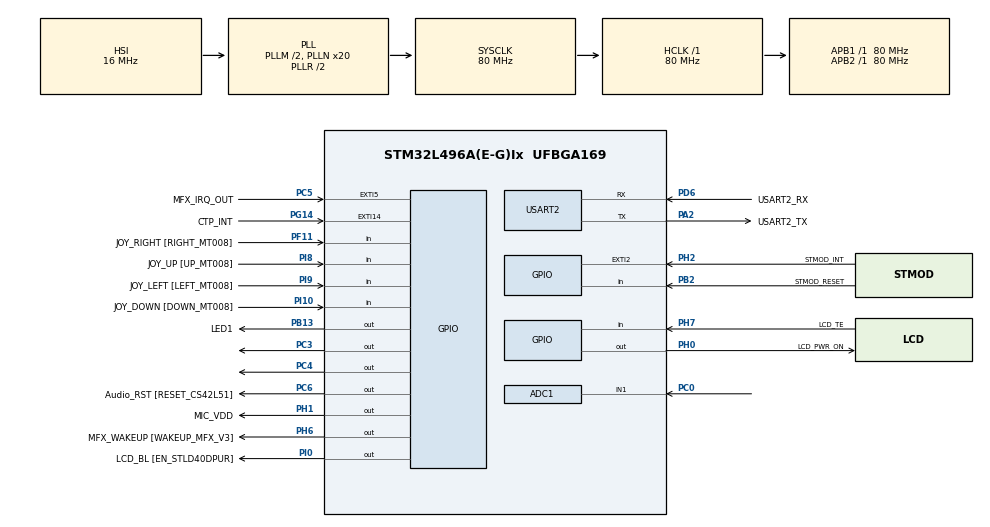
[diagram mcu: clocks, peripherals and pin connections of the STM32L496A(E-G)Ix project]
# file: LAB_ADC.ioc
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ADC1.Channel-1\#ChannelRegularConversion=ADC_CHANNEL_1
ADC1.NbrOfConversionFlag=1
ADC1.OffsetNumber-1\#ChannelRegularConversion=ADC_OFFSET_NONE
ADC1.Rank-1\#ChannelRegularConversion=1
ADC1.SamplingTime-1\#ChannelRegularConversion=ADC_SAMPLETIME_12CYCLES_5
ADC1.master=1
Mcu.Family=STM32L4
Mcu.Name=STM32L496A(E-G)Ix
Mcu.Package=UFBGA169
NVIC.ADC1_2_IRQn=true\:0\:0\:false\:false\:true\:true\:true
NVIC.PriorityGroup=NVIC_PRIORITYGROUP_4
NVIC.TIM3_IRQn=true\:1\:0\:true\:false\:true\:true\:true
NVIC.USART2_IRQn=true\:0\:0\:false\:false\:true\:true\:true
PA0.GPIO_Label=STMOD_PWM
PA0.Signal=SYS_WKUP1
PA1.GPIO_Label=ARD_A4
PA1.Signal=ADCx_IN6
PA10.GPIO_Label=USB_OTGFS_ID
PA10.Signal=USB_OTG_FS_ID
PA11.GPIO_Label=USB_OTGFS_DM
PA11.Signal=USB_OTG_FS_DM
PA12.GPIO_Label=USB_OTGFS_DP
PA12.Signal=USB_OTG_FS_DP
PA13\ (JTMS/SWDIO).GPIO_Label=SWDIO
PA13\ (JTMS/SWDIO).Mode=Serial_Wire
PA13\ (JTMS/SWDIO).Signal=SYS_JTMS-SWDIO
PA14\ (JTCK/SWCLK).GPIO_Label=SWCLK
PA14\ (JTCK/SWCLK).Mode=Serial_Wire
PA14\ (JTCK/SWCLK).Signal=SYS_JTCK-SWCLK
PA15\ (JTDI).GPIO_Label=ARD_D10
PA15\ (JTDI).Signal=SPI1_NSS
PA2.GPIO_Label=USART2_TX
PA2.Mode=Asynchronous
PA2.Signal=USART2_TX
PA3.GPIO_Label=QSPI_CLK [MX25R6435FM2IL0_SCLK]
PA3.Signal=QUADSPI_CLK
PA5.GPIO_Label=ARD_D13
PA5.Signal=SPI1_SCK
PA6.GPIO_Label=QSPI_BK1_IO3 [MX25R6435FM2IL0_SIO3]
PA6.Signal=QUADSPI_BK1_IO3
PA7.GPIO_Label=QSPI_BK1_IO2 [MX25R6435FM2IL0_SIO2]
PA7.Signal=QUADSPI_BK1_IO2
PA8.GPIO_Label=DCMI_CLK
PA8.Signal=LPTIM2_OUT
PA9.GPIO_Label=USB_OTGFS_VBUS
PA9.Signal=USB_OTG_FS_VBUS
PB0.GPIO_Label=QSPI_BK1_IO1 [MX25R6435FM2IL0_SIO1]
PB0.Signal=QUADSPI_BK1_IO1
PB1.GPIO_Label=QSPI_BK1_IO0 [MX25R6435FM2IL0_SIO0]
PB1.Signal=QUADSPI_BK1_IO0
PB10.GPIO_Label=SAI1_CKA [SLCK_CS42L51]
PB10.Signal=SAI1_SCK_A
PB11.GPIO_Label=QSPI_BK1_NCS [MX25R6435FM2IL0_CS]
PB11.Signal=QUADSPI_BK1_NCS
PB12.GPIO_Label=DFDATIN1
PB12.Signal=S_DATAIN1DFSDM1
PB13.GPIO_Label=LED1
PB13.GPIO_ModeDefaultOutputPP=GPIO_MODE_OUTPUT_OD
PB13.GPIO_PuPd=GPIO_NOPULL
PB13.Signal=GPIO_Output
PB14.GPIO_Label=I2C2_SDA [CS42L51_SDA]
PB14.Signal=I2C2_SDA
PB15.GPIO_Label=SPI2_MOSI
PB15.Signal=SPI2_MOSI
PB2.GPIO_Label=STMOD_RESET
PB2.Signal=GPIO_Input
PB3\ (JTDO/TRACESWO).GPIO_Label=SWO
PB3\ (JTDO/TRACESWO).Signal=SYS_JTDO-SWO
PB4\ (NJTRST).GPIO_Label=ARD_D12
PB4\ (NJTRST).Signal=SPI1_MISO
PB5.GPIO_Label=ARD_D11
PB5.Signal=SPI1_MOSI
PB6.GPIO_Label=USART1_TX
PB6.Signal=USART1_TX
PB7.GPIO_Label=I2C1_SDA
PB7.Signal=I2C1_SDA
PB8.GPIO_Label=I2C1_SCL
PB8.Signal=I2C1_SCL
PB9.GPIO_Label=ARD_D5
PB9.Signal=S_TIM4_CH4
PC0.GPIO_Mode=GPIO_MODE_ANALOG
PC0.GPIO_PuPd=GPIO_NOPULL
PC0.Signal=SharedAnalog_PC0
PC10.GPIO_Label=uSD_D2
PC10.Signal=SDMMC1_D2
PC11.GPIO_Label=uSD_D3
PC11.Signal=SDMMC1_D3
PC12.GPIO_Label=uSD_CLK
PC12.Signal=SDMMC1_CK
PC13.GPIO_Label=JOY_SEL [Selection_MT008]
PC13.Signal=SYS_WKUP2
PC14-OSC32_IN\ (PC14).Mode=LSE-External-Oscillator
PC14-OSC32_IN\ (PC14).Signal=RCC_OSC32_IN
PC15-OSC32_OUT\ (PC15).Mode=LSE-External-Oscillator
PC15-OSC32_OUT\ (PC15).Signal=RCC_OSC32_OUT
PC2.GPIO_Label=DF_CKOUT
PC2.Signal=S_CKOUTDFSDM1
PC3.GPIO_PuPd=GPIO_PULLDOWN
PC3.GPIO_Speed=GPIO_SPEED_FREQ_VERY_HIGH
PC3.PinState=GPIO_PIN_RESET
PC3.Signal=GPIO_Output
PC4.GPIO_PuPd=GPIO_NOPULL
PC4.PinState=GPIO_PIN_SET
PC4.Signal=GPIO_Output
PC5.GPIO_Label=MFX_IRQ_OUT
PC5.Signal=GPXTI5
PC6.GPIO_Label=Audio_RST [RESET_CS42L51]
PC6.Signal=GPIO_Output
PC7.GPIO_Label=DATIN3 [DOUT_MP34DT01TR]
PC7.Signal=S_DATAIN3DFSDM1
PC8.GPIO_Label=uSD_D0
PC8.Signal=SDMMC1_D0
PC9.GPIO_Label=uSD_D1
PC9.Signal=SDMMC1_D1
PD0.GPIO_Label=D2 [D2_ IS66WV51216EBLL]
PD0.Signal=FMC_D2_DA2
PD1.GPIO_Label=D3 [D3_IS66WV51216EBLL]
PD1.Signal=FMC_D3_DA3
PD10.GPIO_Label=D15 [D15_IS66WV51216EBLL]
PD10.Signal=FMC_D15_DA15
PD11.GPIO_Label=PSRAM_A16 [A16_IS66WV51216EBLL]
PD11.Signal=FMC_A16_CLE
PD12.GPIO_Label=PSRAM_A17 [A17_IS66WV51216EBLL]
PD12.Signal=FMC_A17_ALE
PD13.GPIO_Label=PSRAM_A18_LCD_RS [A18_IS66WV51216EBLL]
PD13.Signal=FMC_A18
PD14.GPIO_Label=D0 [D0_IS66WV51216EBLL]
PD14.Signal=FMC_D0_DA0
PD15.GPIO_Label=D1 [D1_IS66WV51216EBLL]
PD15.Signal=FMC_D1_DA1
PD2.GPIO_Label=uSD_CMD
PD2.Signal=SDMMC1_CMD
PD4.GPIO_Label=OE [OE_IS66WV51216EBLL]
PD4.Signal=FMC_NOE
PD5.GPIO_Label=WE [WE_IS66WV51216EBLL]
PD5.Signal=FMC_NWE
PD6.GPIO_Label=USART2_RX
PD6.Mode=Asynchronous
PD6.Signal=USART2_RX
PD7.GPIO_Label=LCD_NE
PD7.Signal=FMC_NE1
PD8.GPIO_Label=D13 [D13_IS66WV51216EBLL]
PD8.Signal=FMC_D13_DA13
PD9.GPIO_Label=D14 [D14_IS66WV51216EBLL]
PD9.Signal=FMC_D14_DA14
PE0.GPIO_Label=PSRAM_NBL0 [LB_IS66WV51216EBLL]
PE0.Signal=FMC_NBL0
PE1.GPIO_Label=PSRAM_NBL1 [UB_IS66WV51216EBLL]
PE1.Signal=FMC_NBL1
PE10.GPIO_Label=D7 [D7_IS66WV51216EBLL]
PE10.Signal=FMC_D7_DA7
PE11.GPIO_Label=D8  [D8_IS66WV51216EBLL]
PE11.Signal=FMC_D8_DA8
PE12.GPIO_Label=D9 [D9_IS66WV51216EBLL]
PE12.Signal=FMC_D9_DA9
PE13.GPIO_Label=D10 [D10_IS66WV51216EBLL]
PE13.Signal=FMC_D10_DA10
PE14.GPIO_Label=D11 [D11_IS66WV51216EBLL]
PE14.Signal=FMC_D11_DA11
PE15.GPIO_Label=D12 [D12_IS66WV51216EBLL]
PE15.Signal=FMC_D12_DA12
PE2.GPIO_Label=SAI1_MCKA [MCLK_CS42L51]
PE2.Signal=SAI1_MCLK_A
PE3.GPIO_Label=SAI1_SDB [SDOUT_CS42L51]
PE3.Signal=SAI1_SD_B
PE4.GPIO_Label=SAI1_FSA [LRCK_CS42L51]]
PE4.Signal=SAI1_FS_A
PE5.GPIO_Label=DCMI_D6
PE5.Signal=DCMI_D6
PE6.GPIO_Label=SAI1_SDA [SDIN_CS42L51]
PE6.Signal=SAI1_SD_A
PE7.GPIO_Label=D4 [D4_IS66WV51216EBLL]
PE7.Signal=FMC_D4_DA4
PE8.GPIO_Label=D5 [D5_IS66WV51216EBLL]
PE8.Signal=FMC_D5_DA5
PE9.GPIO_Label=D6 [D6_IS66WV51216EBLL]
PE9.Signal=FMC_D6_DA6
PF0.GPIO_Label=PSRAM_A0 [A0_IS66WV51216EBLL]
PF0.Signal=FMC_A0
PF1.GPIO_Label=PSRAM_A1 [A1_IS66WV51216EBLL]
PF1.Signal=FMC_A1
PF10.GPIO_Label=ARD_A3
PF10.Signal=ADC3_IN13
PF11.GPIO_Label=JOY_RIGHT [RIGHT_MT008]
PF11.GPIO_PuPd=GPIO_PULLDOWN
PF11.Signal=GPIO_Input
PF12.GPIO_Label=PSRAM_A6 [A6_IS66WV51216EBLL]
PF12.Signal=FMC_A6
PF13.GPIO_Label=PSRAM_A7 [A7_IS66WV51216EBLL]
PF13.Signal=FMC_A7
PF14.GPIO_Label=PSRAM_A8 [A8_IS66WV51216EBLL]
PF14.Signal=FMC_A8
PF15.GPIO_Label=PSRAM_A9 [A9_IS66WV51216EBLL]
PF15.Signal=FMC_A9
PF2.GPIO_Label=PSRAM_A2 [A2_IS66WV51216EBLL]
PF2.Signal=FMC_A2
PF3.GPIO_Label=PSRAM_A3 [A3_IS66WV51216EBLL]
PF3.Signal=FMC_A3
PF4.GPIO_Label=PSRAM_A4 [A4_IS66WV51216EBLL]
PF4.Signal=FMC_A4
PF5.GPIO_Label=PSRAM_A5 [A5_IS66WV51216EBLL]
PF5.Signal=FMC_A5
PG0.GPIO_Label=PSRAM_A10 [A10_IS66WV51216EBLL]
PG0.Signal=FMC_A10
PG1.GPIO_Label=PSRAM_A11 [A11_IS66WV51216EBLL]
PG1.Signal=FMC_A11
PG10.GPIO_Label=UART1_RX [STMOD+_UART]
PG10.Signal=USART1_RX
PG11.GPIO_Label=UART1_CTS [STMOD+_UART]
PG11.Signal=USART1_CTS
PG12.GPIO_Label=UART1_RTS [STMOD+_UART]
PG12.Signal=USART1_RTS
PG14.GPIO_Label=CTP_INT
PG14.Signal=GPXTI14
PG2.GPIO_Label=PSRAM_A12 [A12_IS66WV51216EBLL]
PG2.Signal=FMC_A12
PG3.GPIO_Label=PSRAM_A13 [A13_IS66WV51216EBLL]
PG3.Signal=FMC_A13
PG4.GPIO_Label=PSRAM_A14 [A14_IS66WV51216EBLL]
PG4.Signal=FMC_A14
PG5.GPIO_Label=PSRAM_A15 [A15_IS66WV51216EBLL]
PG5.Signal=FMC_A15
PG7.GPIO_Label=ARD_D1
PG7.Signal=LPUART1_TX
PG8.GPIO_Label=ARD_D0
PG8.Signal=LPUART1_RX
PG9.GPIO_Label=PSRAM_NE [CS1_IS66WV51216EBLL]
PG9.Signal=FMC_NE2
PH0-OSC_IN\ (PH0).GPIO_Label=LCD_PWR_ON
PH0-OSC_IN\ (PH0).Signal=GPIO_Output
PH1-OSC_OUT\ (PH1).GPIO_Label=MIC_VDD
PH1-OSC_OUT\ (PH1).Signal=GPIO_Output
PH10.GPIO_Label=DCMI_D1
PH10.Signal=DCMI_D1
PH11.GPIO_Label=DCMI_D2
PH11.Signal=DCMI_D2
PH12.GPIO_Label=DCMI_D3
PH12.Signal=DCMI_D3
PH13.GPIO_Label=ARD_D9
PH13.Signal=TIM8_CH1N
PH14.GPIO_Label=DCMI_D4
PH14.Signal=DCMI_D4
PH15.GPIO_Label=ARD_D3
PH15.Signal=TIM8_CH3N
PH2.GPIO_Label=STMOD_INT
PH2.Signal=GPXTI2
PH4.GPIO_Label=I2C2_SCL [SCL_CS42L51]
PH4.Signal=I2C2_SCL
PH5.GPIO_Label=DCMI_PIXCK
PH5.Signal=DCMI_PIXCLK
PH6.GPIO_Label=MFX_WAKEUP [WAKEUP_MFX_V3]
PH6.Signal=GPIO_Output
PH7.GPIO_Label=LCD_TE
PH7.Signal=GPIO_Input
PH8.GPIO_Label=DCMI_HSYNC
PH8.Signal=DCMI_HSYNC
PH9.GPIO_Label=DCMI_D0
PH9.Signal=DCMI_D0
PI0.GPIO_Label=LCD_BL [EN_STLD40DPUR]
PI0.Signal=GPIO_Output
PI1.GPIO_Label=SPI2_CLK [STMOD+_SPI]
PI1.Signal=SPI2_SCK
PI10.GPIO_Label=JOY_DOWN [DOWN_MT008]
PI10.GPIO_PuPd=GPIO_PULLDOWN
PI10.Signal=GPIO_Input
PI2.GPIO_Label=SPI2_MISO [STMOD+_SPI]
PI2.Signal=SPI2_MISO
PI4.GPIO_Label=DCMI_D5
PI4.Signal=DCMI_D5
PI5.GPIO_Label=DCMI_VSYNC
PI5.Signal=DCMI_VSYNC
PI6.GPIO_Label=ARD_D6
PI6.Signal=S_TIM8_CH2
PI7.GPIO_Label=DCMI_D7
PI7.Signal=DCMI_D7
PI8.GPIO_Label=JOY_UP [UP_MT008]
PI8.GPIO_PuPd=GPIO_PULLDOWN
PI8.Signal=GPIO_Input
PI9.GPIO_Label=JOY_LEFT [LEFT_MT008]
PI9.GPIO_PuPd=GPIO_PULLDOWN
PI9.Signal=GPIO_Input
ProjectManager.HeapSize=0x2000
ProjectManager.StackSize=0x2000
ProjectManager.TargetToolchain=STM32CubeIDE
RCC.ADCFreq_Value=32000000
RCC.AHBFreq_Value=80000000
RCC.APB1Freq_Value=80000000
RCC.APB1TimFreq_Value=80000000
RCC.APB2Freq_Value=80000000
RCC.APB2TimFreq_Value=80000000
RCC.CortexFreq_Value=80000000
RCC.HCLKFreq_Value=80000000
RCC.HSE_VALUE=8000000
RCC.HSI48_VALUE=48000000
RCC.HSI_VALUE=16000000
RCC.MSI_VALUE=4000000
RCC.PLLM=2
RCC.PLLN=20
RCC.PLLSourceVirtual=RCC_PLLSOURCE_HSI
RCC.SYSCLKFreq_VALUE=80000000
RCC.SYSCLKSource=RCC_SYSCLKSOURCE_PLLCLK
RCC.USART2CLockSelection=RCC_USART2CLKSOURCE_SYSCLK
RCC.USBFreq_Value=32000000
RCC.VCOOutputFreq_Value=160000000
SH.ADCx_IN6.0=ADC2_IN6
SH.FMC_A0.0=FMC_A0
SH.FMC_A1.0=FMC_A1
SH.FMC_A10.0=FMC_A10
SH.FMC_A11.0=FMC_A11
SH.FMC_A12.0=FMC_A12
SH.FMC_A13.0=FMC_A13
SH.FMC_A14.0=FMC_A14
SH.FMC_A15.0=FMC_A15
SH.FMC_A16_CLE.0=FMC_A16
SH.FMC_A17_ALE.0=FMC_A17
SH.FMC_A18.0=FMC_A18
SH.FMC_A2.0=FMC_A2
SH.FMC_A3.0=FMC_A3
SH.FMC_A4.0=FMC_A4
SH.FMC_A5.0=FMC_A5
SH.FMC_A6.0=FMC_A6
SH.FMC_A7.0=FMC_A7
SH.FMC_A8.0=FMC_A8
SH.FMC_A9.0=FMC_A9
SH.FMC_D0_DA0.0=FMC_D0
SH.FMC_D10_DA10.0=FMC_D10
SH.FMC_D11_DA11.0=FMC_D11
SH.FMC_D12_DA12.0=FMC_D12
SH.FMC_D13_DA13.0=FMC_D13
SH.FMC_D14_DA14.0=FMC_D14
SH.FMC_D15_DA15.0=FMC_D15
SH.FMC_D1_DA1.0=FMC_D1
SH.FMC_D2_DA2.0=FMC_D2
SH.FMC_D3_DA3.0=FMC_D3
SH.FMC_D4_DA4.0=FMC_D4
SH.FMC_D5_DA5.0=FMC_D5
SH.FMC_D6_DA6.0=FMC_D6
SH.FMC_D7_DA7.0=FMC_D7
SH.FMC_D8_DA8.0=FMC_D8
SH.FMC_D9_DA9.0=FMC_D9
SH.FMC_NBL0.0=FMC_NBL0
SH.FMC_NBL1.0=FMC_NBL1
SH.FMC_NOE.0=FMC_NOE
SH.FMC_NWE.0=FMC_NWE
SH.S_CKOUTDFSDM1.0=DFSDM1_CKOUT
SH.S_DATAIN1DFSDM1.0=DFSDM1_DATIN1
SH.S_DATAIN3DFSDM1.0=DFSDM1_DATIN3
SH.S_TIM4_CH4.0=TIM4_CH4
SH.S_TIM8_CH2.0=TIM8_CH2
SH.SharedAnalog_PC0.0=GPIO_Analog
SH.SharedAnalog_PC0.1=ADC1_IN1,IN1-Single-Ended
SYS.VoltageScaling=SYSCFG_VREFBUF_VOLTAGE_SCALE1
TIM3.Period=99
TIM3.Prescaler=39
USART2.VirtualMode-Asynchronous=VM_ASYNC
VP_TIM3_VS_ClockSourceINT.Mode=Internal
VREF+.Mode=InternalMode
VREF+.Signal=VREFBUF_OUT
board=STM32L496G-DISCO

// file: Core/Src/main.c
/* USER CODE BEGIN Header */
/**
  ******************************************************************************
  * @file           : main.c
  * @brief          : Main program body
  ******************************************************************************
  * @attention
  *
  * <h2><center>&copy; Copyright (c) 2021 STMicroelectronics.
  * All rights reserved.</center></h2>
  *
  * This software component is licensed by ST under BSD 3-Clause license,
  * the "License"; You may not use this file except in compliance with the
  * License. You may obtain a copy of the License at:
  *                        opensource.org/licenses/BSD-3-Clause
  *
  ******************************************************************************
  */
/* USER CODE END Header */
#include "main.h"
#include "adc.h"
#include "tim.h"
#include "usart.h"
#include "gpio.h"

/* USER CODE BEGIN Includes */
#include "stdio.h"
/* USER CODE END Includes */

/* USER CODE BEGIN PV */
uint32_t Value_Buffer[5000] = {};
int print_flag = 0;
/* USER CODE END PV */

void SystemClock_Config(void);

/* USER CODE BEGIN 0 */
void HAL_TIM_PeriodElapsedCallback(TIM_HandleTypeDef *htim)
{
	HAL_ADC_Start_IT(&hadc1);
    HAL_GPIO_TogglePin(GPIOB, GPIO_PIN_13);
    HAL_GPIO_TogglePin(GPIOC, GPIO_PIN_3);
}

void HAL_ADC_ConvCpltCallback(ADC_HandleTypeDef* hadc)
{
    static uint32_t AD_Value;
    static int sample_num = 0;

    HAL_ADC_Stop_IT(&hadc1);
    HAL_TIM_Base_Stop_IT(&htim3);

    AD_Value = HAL_ADC_GetValue(&hadc1);
    if (sample_num<5000)
    {
    	Value_Buffer[sample_num++] = AD_Value;
    }
    else
    {
    	sample_num = 0; HAL_TIM_Base_Stop_IT(&htim3);
    	print_flag = 1;
    }

    HAL_TIM_Base_Start_IT(&htim3);
}

void printdata(void)
{
	static char Txmsg[10] = "";
	for(int i=0;i<5000;i++)
	{
		sprintf(Txmsg, "%.4f\r\n", (double)Value_Buffer[i] * 2.5 / 4095);
		HAL_UART_Transmit_IT(&huart2, (uint8_t*)Txmsg, sizeof(Txmsg));
		while(huart2.gState != HAL_UART_STATE_READY);
	}
	print_flag = 0;
	HAL_TIM_Base_Start_IT(&htim3);
}
/* USER CODE END 0 */

int main(void)
{

  /* MCU Configuration--------------------------------------------------------*/

  /* Reset of all peripherals, Initializes the Flash interface and the Systick. */
  HAL_Init();

  /* Configure the system clock */
  SystemClock_Config();

  /* Initialize all configured peripherals */
  MX_GPIO_Init();
  MX_USART2_UART_Init();
  MX_TIM3_Init();
  MX_ADC1_Init();
  /* USER CODE BEGIN 2 */
  HAL_TIM_Base_Start_IT(&htim3);
  /* USER CODE END 2 */

  /* Infinite loop */
  /* USER CODE BEGIN WHILE */
  while (1)
  {
	  if (print_flag == 1)
	  {
		  printdata();
		  HAL_Delay(3000);
	  }
    /* USER CODE END WHILE */

  }
}

void SystemClock_Config(void)
{
  RCC_OscInitTypeDef RCC_OscInitStruct = {0};
  RCC_ClkInitTypeDef RCC_ClkInitStruct = {0};

  /** Configure the main internal regulator output voltage
  */
  if (HAL_PWREx_ControlVoltageScaling(PWR_REGULATOR_VOLTAGE_SCALE1) != HAL_OK)
  {
    Error_Handler();
  }
  /** Initializes the RCC Oscillators according to the specified parameters
  * in the RCC_OscInitTypeDef structure.
  */
  RCC_OscInitStruct.OscillatorType = RCC_OSCILLATORTYPE_HSI;
  RCC_OscInitStruct.HSIState = RCC_HSI_ON;
  RCC_OscInitStruct.HSICalibrationValue = RCC_HSICALIBRATION_DEFAULT;
  RCC_OscInitStruct.PLL.PLLState = RCC_PLL_ON;
  RCC_OscInitStruct.PLL.PLLSource = RCC_PLLSOURCE_HSI;
  RCC_OscInitStruct.PLL.PLLM = 2;
  RCC_OscInitStruct.PLL.PLLN = 20;
  RCC_OscInitStruct.PLL.PLLP = RCC_PLLP_DIV2;
  RCC_OscInitStruct.PLL.PLLQ = RCC_PLLQ_DIV2;
  RCC_OscInitStruct.PLL.PLLR = RCC_PLLR_DIV2;
  if (HAL_RCC_OscConfig(&RCC_OscInitStruct) != HAL_OK)
  {
    Error_Handler();
  }
  /** Initializes the CPU, AHB and APB buses clocks
  */
  RCC_ClkInitStruct.ClockType = RCC_CLOCKTYPE_HCLK|RCC_CLOCKTYPE_SYSCLK
                              |RCC_CLOCKTYPE_PCLK1|RCC_CLOCKTYPE_PCLK2;
  RCC_ClkInitStruct.SYSCLKSource = RCC_SYSCLKSOURCE_PLLCLK;
  RCC_ClkInitStruct.AHBCLKDivider = RCC_SYSCLK_DIV1;
  RCC_ClkInitStruct.APB1CLKDivider = RCC_HCLK_DIV1;
  RCC_ClkInitStruct.APB2CLKDivider = RCC_HCLK_DIV1;

  if (HAL_RCC_ClockConfig(&RCC_ClkInitStruct, FLASH_LATENCY_4) != HAL_OK)
  {
    Error_Handler();
  }
}

void Error_Handler(void)
{
  __disable_irq();
  while (1)
  {
  }
}

/************************ (C) COPYRIGHT STMicroelectronics *****END OF FILE****/
